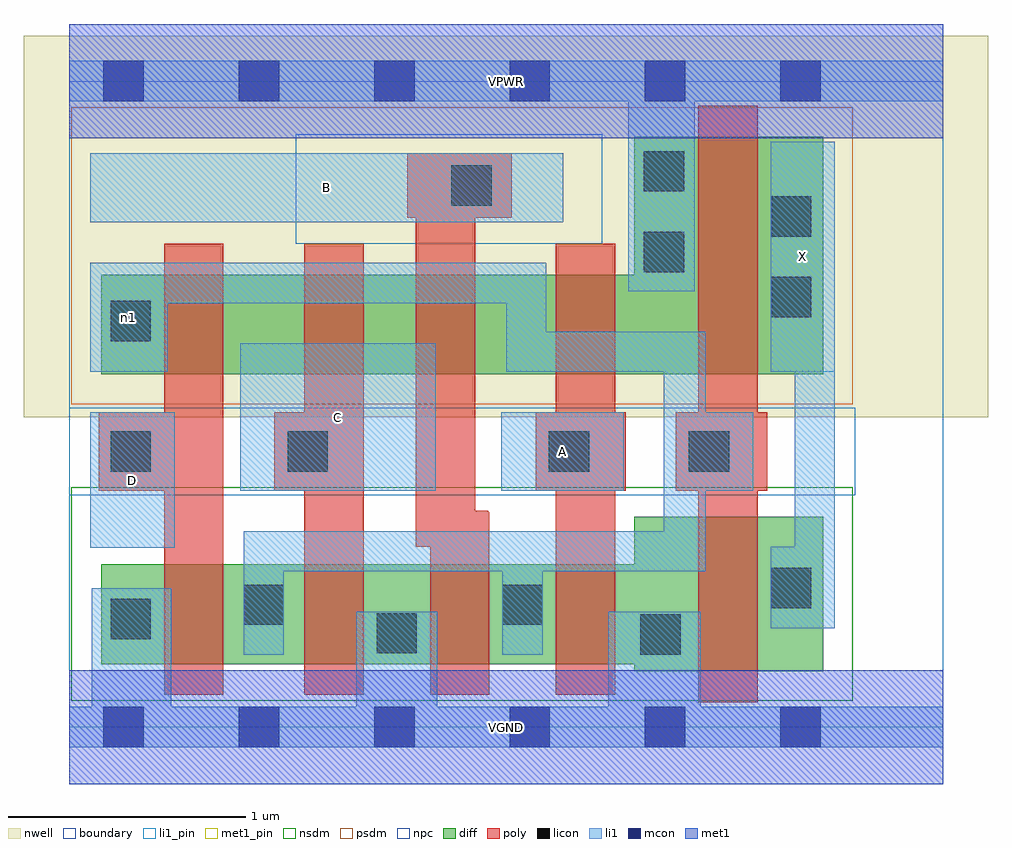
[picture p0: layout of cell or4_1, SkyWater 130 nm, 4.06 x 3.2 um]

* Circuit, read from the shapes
.subckt or4_1 A B C D VGND VPWR X n1
XM1 n1 D VGND VSUBS sky130_fd_pr__nfet_01v8 w=0.42 l=0.25
XM2 VGND C n1 VSUBS sky130_fd_pr__nfet_01v8 w=0.42 l=0.25
XM3 n1 B VGND VSUBS sky130_fd_pr__nfet_01v8 w=0.42 l=0.25
XM4 VGND A n1 VSUBS sky130_fd_pr__nfet_01v8 w=0.42 l=0.25
XM5 X n1 VGND VSUBS sky130_fd_pr__nfet_01v8 w=0.65 l=0.25
XM6 n2 D n1 n3 sky130_fd_pr__pfet_01v8 w=0.42 l=0.25
XM7 n4 C n2 n3 sky130_fd_pr__pfet_01v8 w=0.42 l=0.25
XM8 n5 B n4 n3 sky130_fd_pr__pfet_01v8 w=0.42 l=0.25
XM9 VPWR A n5 n3 sky130_fd_pr__pfet_01v8 w=0.42 l=0.25
XM10 X n1 VPWR n3 sky130_fd_pr__pfet_01v8 w=1 l=0.25
.ends

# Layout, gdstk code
import gdstk
lib = gdstk.Library(unit=1e-6, precision=1e-09)
def R(c, l, rs):  # rectangles x0, y0, x1, y1
    for r in rs: c.add(gdstk.rectangle(r[:2], r[2:], *l))
def A(c, l, x, y, w, h, nx, ny, dx, dy):  # array of equal rectangles
    R(c, l, [(x+i*dx, y+j*dy, x+i*dx+w, y+j*dy+h) for i in range(nx) for j in range(ny)])
nwell = (64, 20)
diff = (65, 20)
poly = (66, 20)
licon = (66, 44)
li1_pin = (67, 16)
li1 = (67, 20)
mcon = (67, 44)
met1_pin = (68, 16)
met1 = (68, 20)
nsdm = (93, 44)
psdm = (94, 20)
npc = (95, 20)
boundary = (235, 4)

or4_1 = lib.new_cell('or4_1')
R(or4_1, nwell, [(-0.19,1.305,3.87,2.91), (0,1.305,3.68,2.91)])
R(or4_1, diff, [(2.38,0.235,3.175,0.885), (0.135,0.265,3.175,0.685), (0.135,1.485,3.175,1.905), (2.38,1.485,3.175,2.485)])
R(or4_1, poly, [(2.65,0.105,2.9,2.615), (0.4,0.135,0.65,2.035), (0.99,0.135,1.24,2.035), (1.52,0.135,1.77,0.905), (1.52,0.135,1.765,0.91), (2.05,0.135,2.3,2.035), (1.46,0.76,1.71,2.415), (0.125,0.995,0.65,1.325), (0.865,0.995,1.24,1.325), (1.965,0.995,2.345,1.325), (2.555,0.995,2.94,1.325), (1.425,2.145,1.865,2.415)])
R(or4_1, licon, [(2.405,0.305,2.575,0.475), (1.295,0.31,1.465,0.48), (0.175,0.37,0.345,0.54), (0.735,0.43,0.905,0.6), (1.825,0.43,1.995,0.6), (2.955,0.5,3.125,0.67), (0.175,1.075,0.345,1.245), (0.92,1.075,1.09,1.245), (2.02,1.075,2.19,1.245), (2.61,1.075,2.78,1.245), (0.175,1.625,0.345,1.795), (2.955,1.725,3.125,1.895), (2.42,1.915,2.59,2.085), (2.955,2.065,3.125,2.235), (1.61,2.195,1.78,2.365), (2.42,2.255,2.59,2.425)])
R(or4_1, li1_pin, [(0.09,0.755,0.445,1.325), (0.72,0.995,1.545,1.615), (1.82,0.995,2.335,1.325), (2.955,1.495,3.225,2.465), (0.09,2.125,2.08,2.415)])
R(or4_1, li1, [(0,-0.085,3.68,0.085), (0.095,-0.085,0.43,0.585), (1.21,-0.085,1.55,0.485), (2.27,-0.085,2.66,0.485), (0.735,0.305,0.905,0.825), (1.825,0.305,1.995,0.825), (2.955,0.415,3.225,0.76), (3.055,0.415,3.225,2.465), (0.735,0.655,2.68,0.825), (2.505,0.655,2.68,1.665), (0.09,0.755,0.445,1.325), (0.72,0.995,1.545,1.615), (1.82,0.995,2.335,1.325), (2.505,0.995,2.88,1.325), (0.09,1.495,0.415,1.955), (1.84,1.495,2.68,1.665), (1.84,1.495,2.01,1.955), (2.955,1.495,3.225,2.465), (0.09,1.785,2.01,1.955), (2.355,1.835,2.635,2.805), (0.09,2.125,2.08,2.415), (0,2.635,3.68,2.805)])
A(or4_1, mcon, 0.145, -0.085, 0.17, 0.17, 6, 2, 0.57, 2.72)
R(or4_1, met1_pin, [(0,-0.24,3.68,0.24), (0,2.48,3.68,2.96)])
R(or4_1, met1, [(0,-0.24,3.68,0.24), (0,2.48,3.68,2.96)])
R(or4_1, nsdm, [(0.01,0.11,3.3,1.01)])
R(or4_1, psdm, [(0.01,1.36,3.3,2.61)])
R(or4_1, npc, [(0,0.975,3.31,1.345), (0.955,2.035,2.245,2.495)])
R(or4_1, boundary, [(0,0,3.68,2.72)])
or4_1.add(gdstk.Label('A', (2.077,1.16), layer=67, texttype=5))
or4_1.add(gdstk.Label('B', (1.085,2.27), layer=67, texttype=5))
or4_1.add(gdstk.Label('C', (1.132,1.305), layer=67, texttype=5))
or4_1.add(gdstk.Label('D', (0.267,1.04), layer=67, texttype=5))
or4_1.add(gdstk.Label('X', (3.09,1.98), layer=67, texttype=5))
or4_1.add(gdstk.Label('n1', (0.252,1.725), layer=67, texttype=5))
or4_1.add(gdstk.Label('VPWR', (1.84,2.72), layer=68, texttype=5))
or4_1.add(gdstk.Label('VGND', (1.84,0), layer=68, texttype=5))
or4_1.add(gdstk.Label('A', (2.077,1.16), layer=67, texttype=16))
or4_1.add(gdstk.Label('B', (1.085,2.27), layer=67, texttype=16))
or4_1.add(gdstk.Label('C', (1.132,1.305), layer=67, texttype=16))
or4_1.add(gdstk.Label('D', (0.267,1.04), layer=67, texttype=16))
or4_1.add(gdstk.Label('X', (3.09,1.98), layer=67, texttype=16))
or4_1.add(gdstk.Label('VPWR', (1.84,2.72), layer=68, texttype=16))
or4_1.add(gdstk.Label('VGND', (1.84,0), layer=68, texttype=16))

lib.write_gds('or4_1.gds')
